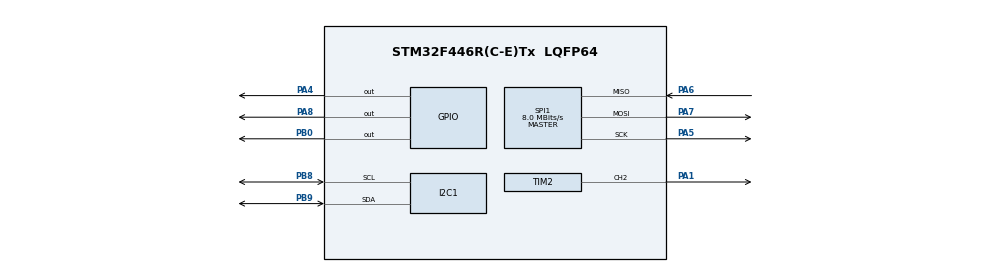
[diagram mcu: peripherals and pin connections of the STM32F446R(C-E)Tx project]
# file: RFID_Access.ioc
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Mcu.Family=STM32F4
Mcu.Name=STM32F446R(C-E)Tx
Mcu.Package=LQFP64
NVIC.PriorityGroup=NVIC_PRIORITYGROUP_4
PA1.Signal=S_TIM2_CH2
PA13.Mode=Serial_Wire
PA13.Signal=SYS_JTMS-SWDIO
PA14.Mode=Serial_Wire
PA14.Signal=SYS_JTCK-SWCLK
PA4.Signal=GPIO_Output
PA5.Mode=Full_Duplex_Master
PA5.Signal=SPI1_SCK
PA6.Mode=Full_Duplex_Master
PA6.Signal=SPI1_MISO
PA7.Mode=Full_Duplex_Master
PA7.Signal=SPI1_MOSI
PA8.GPIO_PuPd=GPIO_PULLDOWN
PA8.Signal=GPIO_Output
PB0.Signal=GPIO_Output
PB8.Mode=I2C
PB8.Signal=I2C1_SCL
PB9.Mode=I2C
PB9.Signal=I2C1_SDA
ProjectManager.HeapSize=0x200
ProjectManager.StackSize=0x400
ProjectManager.TargetToolchain=STM32CubeIDE
RCC.CortexFreq_Value=16000000
RCC.USBFreq_Value=96000000
RCC.VCOOutputFreq_Value=192000000
SH.S_TIM2_CH2.0=TIM2_CH2,PWM Generation2 CH2
SPI1.BaudRatePrescaler=SPI_BAUDRATEPRESCALER_2
SPI1.CalculateBaudRate=8.0 MBits/s
SPI1.Direction=SPI_DIRECTION_2LINES
SPI1.FirstBit=SPI_FIRSTBIT_MSB
SPI1.Mode=SPI_MODE_MASTER
SPI1.VirtualType=VM_MASTER
TIM2.Channel-PWM\ Generation2\ CH2=TIM_CHANNEL_2
TIM2.Period=999
TIM2.Prescaler=16
VP_TIM2_VS_ClockSourceINT.Mode=Internal
board=custom

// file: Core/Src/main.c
/* USER CODE BEGIN Header */
/*
 +--------+---------+   +------+---------+   +--------+------+
 | RFID   | STM     |   | LCD  | STM     |   | PIEZO  | STM  |
 +--------+---------+   +------+---------+   +--------+------+
 | VCC    | 3.3V    |   | VCC  | 5.0V    |   | SIG    | A01  |
 | RST    | PB0(A03)|   | GND  | GND     |   | GND    | GND  |
 | GND    | GND     |   | SCL  | SCL/D15 |   +--------+------+
 | IRQ    | ---     |   | SDA  | SDA/D14 |
 | MISO   | PA6(D12)|   +------+---------+
 | MOSI   | PA7(D11)|	+-------+------+
 | SCK    | PA5(D13)|	| RELAY | STM  |
 | SDA    | PA4(A02)|	+-------+------+
 +--------+---------+	| SIG   | A08  |
 	 	 	 	 	 	| GND   | GND  |
						+-------+------+
 */
/* USER CODE END Header */

#include <stdio.h>
#include <main.h>
#include <string.h>
#include <stdlib.h>
#include <poruke.h>
#define ALLOWED_UID_0 75
#define ALLOWED_UID_1 161
#define ALLOWED_UID_2 169
#define ALLOWED_UID_3 195
#define ALLOWED_UID_4 128

// Deklaracije LCD funkcija
void Delay_us(uint32_t us);	//prototip funkcije mikrosekunda
void DWT_Init(void);		//prototip funkcije inicijalizacije mikrosekundi
void I2C_LCD_Init(void); 	// Inicijalizacija LCD ekrana
void I2C_LCD_Clear(void); 	// Briše sadržaj LCD ekrana
void I2C_LCD_SetCursor(uint8_t Col, uint8_t Row); // Postavlja kursor na određenu poziciju
void I2C_LCD_WriteString(char *Str); // Ispisuje string na LCD
typedef struct {
	// I2C LCD Module Instance Index
	uint8_t I2C_LCD_Instance;

	// I2C Hardware Peripheral Handle
	I2C_HandleTypeDef *I2C_Handle;

	// I2C LCD Hardware Device Address
	uint8_t I2C_LCD_Address;

	// I2C LCD Columns Count
	uint8_t I2C_LCD_nCol;

	// I2C LCD Rows Count
	uint8_t I2C_LCD_nRow;

} I2C_LCD_CfgType;

// Maksimalna dužina buffera za prijenos podataka s RFID modula
#define MAX_LEN 16
// Definicija SPI instance koja se koristi za komunikaciju s RC522
#define HSPI_INSTANCE &hspi1
// Definicije GPIO pinova za RC522 čip selekt (CS) i reset (RST)
#define MFRC522_CS_PORT GPIOA     // Port za čip selekt
#define MFRC522_CS_PIN GPIO_PIN_4 // Pin za čip selekt (SDA)
#define MFRC522_RST_PORT GPIOB    // Port za reset
#define MFRC522_RST_PIN GPIO_PIN_0 // Pin za reset

// Funkcije za rad s RC522 RFID modulom
void MFRC522_Init(void);		//Inicijalizira RC522 RFID modul

uint8_t MFRC522_Request(uint8_t reqMode, uint8_t *TagType);

uint8_t MFRC522_Anticoll(uint8_t *serNum);

/* USER CODE END Includes */

/* USER CODE BEGIN PD */

// Definicije GPIO pinova za upravljanje relejom
#define RELAY_PIN       	GPIO_PIN_8  // Pin koji kontrolira relej (uključivanje/isključivanje)
#define RELAY_PORT      	GPIOA       // GPIO port gdje je povezan relej
/* USER CODE END PD */

I2C_HandleTypeDef hi2c1;  // Struktura za rad s I2C perifernim modulom
SPI_HandleTypeDef hspi1;  // Struktura za rad s SPI komunikacijom
TIM_HandleTypeDef htim2; // Struktura za rad s tajmerom 2 (PWM za piezo zvučnik)

/* USER CODE BEGIN PV */
uint8_t status;  // Status RFID očitanja, pokazuje prisutnost kartice
uint8_t str[MAX_LEN]; // Buffer za pohranu očitanih podataka s RFID kartice (maksimalna dužina 16 bajtova)
uint8_t sNum[5];  // Polje za spremanje UID broja RFID kartice (5 bajtova)

/* USER CODE END PV */

void SystemClock_Config(void); // Konfiguracija sistemskog takta mikrokontrolera
void MX_GPIO_Init(void);  // Inicijalizacija GPIO pinova
void MX_SPI1_Init(void); // Inicijalizacija SPI1 periferije za komunikaciju s RFID modulom
static void MX_I2C1_Init(void);  // Inicijalizacija I2C1 periferije za LCD ekran
static void MX_TIM2_Init(void); // Inicijalizacija TIM2 timera za generiranje PWM signala
void Reset_TIM2(void); // Reset timera TIM2 za potrebe ispravnog funkcioniranja PWM-a
/* USER CODE BEGIN PFP */

//prototipi funkcija
void RFID_Process(void); //Proces identifikacije
void RC522_Init(void);  // Inicijalizacija RFID modula RC522
void I2C_DENIED(void); // Prikazuje poruku 'DENIED' na LCD-u i generira zvučni signal za odbijen pristup
void I2C_GRANTED(void); // Prikazuje poruku 'GRANTED' na LCD-u, aktivira relej i generira zvučni signal
void I2C_WELCOME(void); // Prikazuje poruku dobrodošlice i upute za skeniranje kartice na LCD-u
void I2C_CARD(uint8_t *data);  // Prikazuje UID kartice na LCD ekranu u dva reda
#define TIM_CLOCK 16000000  // 16 MHz
void GenerateTone(int tone, int duration_ms); // Generira zvučni signal pomoću PWM-a na piezo zvučniku

/* USER CODE END PFP */

int main(void) {

	/* MCU Configuration--------------------------------------------------------*/

	/* Reset of all peripherals, Initializes the Flash interface and the Systick. */
	HAL_Init();  // Inicijalizacija HAL biblioteke

	/* Configure the system clock */
	SystemClock_Config();  // Konfiguracija sistemskog takta

	/* Initialize all configured peripherals */

	MX_GPIO_Init();  // Inicijalizacija GPIO pinova
	MX_SPI1_Init();  // Inicijalizacija SPI-a
	MX_I2C1_Init();  // Inicijalizacija I2C-a
	MX_TIM2_Init();  // Inicijalizacija timera 2
	/* USER CODE BEGIN 2 */
	DWT_Init();		// Inicijalizacija microSeconds funkcije (izbjegavam util.h)
	MFRC522_Init();  // Inicijalizacija RFID modula
	I2C_LCD_Init();  // Inicijalizacija LCD ekrana
	HAL_TIM_PWM_Start(&htim2, TIM_CHANNEL_2); // Pokretanje PWM-a za piezo zvučnik
	I2C_WELCOME();  // Prikaz poruke dobrodošlice

	/* USER CODE END 2 */

	/* Infinite loop */
	/* USER CODE BEGIN WHILE */
	while (1) {
		RFID_Process();
		/* USER CODE END WHILE */

	}
}

void SystemClock_Config(void) {
	RCC_OscInitTypeDef RCC_OscInitStruct = { 0 };
	RCC_ClkInitTypeDef RCC_ClkInitStruct = { 0 };

	/** Configure the main internal regulator output voltage
	 */
	__HAL_RCC_PWR_CLK_ENABLE();
	__HAL_PWR_VOLTAGESCALING_CONFIG(PWR_REGULATOR_VOLTAGE_SCALE3);

	/** Initializes the RCC Oscillators according to the specified parameters
	 * in the RCC_OscInitTypeDef structure.
	 */
	RCC_OscInitStruct.OscillatorType = RCC_OSCILLATORTYPE_HSI;
	RCC_OscInitStruct.HSIState = RCC_HSI_ON;
	RCC_OscInitStruct.HSICalibrationValue = RCC_HSICALIBRATION_DEFAULT;
	RCC_OscInitStruct.PLL.PLLState = RCC_PLL_NONE;
	if (HAL_RCC_OscConfig(&RCC_OscInitStruct) != HAL_OK) {
		Error_Handler();
	}

	/** Initializes the CPU, AHB and APB buses clocks
	 */
	RCC_ClkInitStruct.ClockType = RCC_CLOCKTYPE_HCLK | RCC_CLOCKTYPE_SYSCLK
			| RCC_CLOCKTYPE_PCLK1 | RCC_CLOCKTYPE_PCLK2;
	RCC_ClkInitStruct.SYSCLKSource = RCC_SYSCLKSOURCE_HSI;
	RCC_ClkInitStruct.AHBCLKDivider = RCC_SYSCLK_DIV1;
	RCC_ClkInitStruct.APB1CLKDivider = RCC_HCLK_DIV1;
	RCC_ClkInitStruct.APB2CLKDivider = RCC_HCLK_DIV1;

	if (HAL_RCC_ClockConfig(&RCC_ClkInitStruct, FLASH_LATENCY_0) != HAL_OK) {
		Error_Handler();
	}
}

static void MX_I2C1_Init(void) {

	hi2c1.Instance = I2C1;
	hi2c1.Init.ClockSpeed = 100000;
	hi2c1.Init.DutyCycle = I2C_DUTYCYCLE_2;
	hi2c1.Init.OwnAddress1 = 0;
	hi2c1.Init.AddressingMode = I2C_ADDRESSINGMODE_7BIT;
	hi2c1.Init.DualAddressMode = I2C_DUALADDRESS_DISABLE;
	hi2c1.Init.OwnAddress2 = 0;
	hi2c1.Init.GeneralCallMode = I2C_GENERALCALL_DISABLE;
	hi2c1.Init.NoStretchMode = I2C_NOSTRETCH_DISABLE;
	if (HAL_I2C_Init(&hi2c1) != HAL_OK) {
		Error_Handler();
	}

}

void MX_SPI1_Init(void) {

	/* SPI1 parameter configuration*/
	hspi1.Instance = SPI1;					//naziv SPI instance
	hspi1.Init.Mode = SPI_MODE_MASTER;				//STM radi kao master
	hspi1.Init.Direction = SPI_DIRECTION_2LINES;	//dvosmjerna komunikacija
	hspi1.Init.DataSize = SPI_DATASIZE_8BIT;		//veličina podatka je 8 bita
	hspi1.Init.CLKPolarity = SPI_POLARITY_LOW;		//SCK je u 0 kad miruje
	hspi1.Init.CLKPhase = SPI_PHASE_1EDGE;			//podaci se uzorkuju na prvom bridu
	hspi1.Init.NSS = SPI_NSS_SOFT;					//software kontrolira chip select
	hspi1.Init.BaudRatePrescaler = SPI_BAUDRATEPRESCALER_2; //Brzina komunikacij
	hspi1.Init.FirstBit = SPI_FIRSTBIT_MSB;			//prvi bit je MSB
	hspi1.Init.TIMode = SPI_TIMODE_DISABLE;
	hspi1.Init.CRCCalculation = SPI_CRCCALCULATION_DISABLE;
	hspi1.Init.CRCPolynomial = 10;
	if (HAL_SPI_Init(&hspi1) != HAL_OK) {
		Error_Handler();
	}

}

static void MX_TIM2_Init(void) {

	TIM_ClockConfigTypeDef sClockSourceConfig = { 0 };
	TIM_MasterConfigTypeDef sMasterConfig = { 0 };
	TIM_OC_InitTypeDef sConfigOC = { 0 };

	htim2.Instance = TIM2;
	htim2.Init.Prescaler = 1;
	htim2.Init.CounterMode = TIM_COUNTERMODE_UP;
	htim2.Init.Period = 7999;
	htim2.Init.ClockDivision = TIM_CLOCKDIVISION_DIV1;
	htim2.Init.AutoReloadPreload = TIM_AUTORELOAD_PRELOAD_DISABLE;
	if (HAL_TIM_Base_Init(&htim2) != HAL_OK) {
		Error_Handler();
	}
	sClockSourceConfig.ClockSource = TIM_CLOCKSOURCE_INTERNAL;
	if (HAL_TIM_ConfigClockSource(&htim2, &sClockSourceConfig) != HAL_OK) {
		Error_Handler();
	}
	if (HAL_TIM_PWM_Init(&htim2) != HAL_OK) {
		Error_Handler();
	}
	sMasterConfig.MasterOutputTrigger = TIM_TRGO_RESET;
	sMasterConfig.MasterSlaveMode = TIM_MASTERSLAVEMODE_DISABLE;
	if (HAL_TIMEx_MasterConfigSynchronization(&htim2, &sMasterConfig)
			!= HAL_OK) {
		Error_Handler();
	}
	sConfigOC.OCMode = TIM_OCMODE_PWM1;
	sConfigOC.Pulse = 0;
	sConfigOC.OCPolarity = TIM_OCPOLARITY_HIGH;
	sConfigOC.OCFastMode = TIM_OCFAST_DISABLE;
	if (HAL_TIM_PWM_ConfigChannel(&htim2, &sConfigOC, TIM_CHANNEL_2)
			!= HAL_OK) {
		Error_Handler();
	}
	HAL_TIM_MspPostInit(&htim2);

}

void MX_GPIO_Init(void) {
	GPIO_InitTypeDef GPIO_InitStruct = { 0 };

	/* GPIO Ports Clock Enable */
	__HAL_RCC_GPIOA_CLK_ENABLE();
	__HAL_RCC_GPIOB_CLK_ENABLE();

	/*Configure GPIO pin Output Level */
	HAL_GPIO_WritePin(GPIOA, GPIO_PIN_4 | GPIO_PIN_8, GPIO_PIN_RESET);

	/*Configure GPIO pin Output Level */
	HAL_GPIO_WritePin(GPIOB, GPIO_PIN_0, GPIO_PIN_RESET);

	/*Configure GPIO pin : PA4 */
	GPIO_InitStruct.Pin = GPIO_PIN_4;
	GPIO_InitStruct.Mode = GPIO_MODE_OUTPUT_PP;
	GPIO_InitStruct.Pull = GPIO_NOPULL;
	GPIO_InitStruct.Speed = GPIO_SPEED_FREQ_LOW;
	HAL_GPIO_Init(GPIOA, &GPIO_InitStruct);

	/*Configure GPIO pin : PB0 */
	GPIO_InitStruct.Pin = GPIO_PIN_0;
	GPIO_InitStruct.Mode = GPIO_MODE_OUTPUT_PP;
	GPIO_InitStruct.Pull = GPIO_NOPULL;
	GPIO_InitStruct.Speed = GPIO_SPEED_FREQ_LOW;
	HAL_GPIO_Init(GPIOB, &GPIO_InitStruct);

	/*Configure GPIO pin : PA8 */
	GPIO_InitStruct.Pin = GPIO_PIN_8;
	GPIO_InitStruct.Mode = GPIO_MODE_OUTPUT_PP;
	GPIO_InitStruct.Pull = GPIO_PULLDOWN;
	GPIO_InitStruct.Speed = GPIO_SPEED_FREQ_LOW;
	HAL_GPIO_Init(GPIOA, &GPIO_InitStruct);

}

/* USER CODE BEGIN 4 */
void RFID_Process(void) {
	// Attempt to detect a card
	status = MFRC522_Request(0x26, str); // Provjera prisutnosti kartice
	if (status == 0) {
		status = MFRC522_Anticoll(str);  // Antikolidacija - dobivanje UID-a
		if (status == 0) {
			memcpy(sNum, str, 5); // Kopiranje UID-a u sNum
			HAL_Delay(100);
			if ((str[0] == ALLOWED_UID_0) && (str[1] == ALLOWED_UID_1)
					&& (str[2] == ALLOWED_UID_2) && (str[3] == ALLOWED_UID_3)
					&& (str[4] == ALLOWED_UID_4)) {
				//I2C_CARD((uint8_t*) str);  // Prikaz broja kartice na LCD-u
				I2C_GRANTED();  // Dozvoljen pristup
				I2C_WELCOME();
			} else {
				//I2C_CARD((uint8_t*) str);  // Prikaz broja kartice na LCD-u
				I2C_DENIED();  // Odbijen pristup
				I2C_WELCOME();
			}
		}
	}
};
void I2C_DENIED(void) {
	// Generate a random index
	int random_index = rand() % denied_messages_count;
	// Display the message
	I2C_LCD_Clear();
	I2C_LCD_SetCursor(0, 0);
	I2C_LCD_WriteString((char*) denied_messages[random_index][0]); // First line
	I2C_LCD_SetCursor(0, 1);
	I2C_LCD_WriteString((char*) denied_messages[random_index][1]); // Second line
	// Generiranje zvučnog signala
	GenerateTone(800, 300);

	// Mala pauza da korisnik vidi poruku
	HAL_Delay(2500);

}

void I2C_GRANTED(void) {
	// Generate a random index
	int random_index = rand() % granted_messages_count;
	// Display the message
	I2C_LCD_Clear();
	I2C_LCD_SetCursor(0, 0);
	I2C_LCD_WriteString((char*) granted_messages[random_index][0]); // First line
	I2C_LCD_SetCursor(0, 1);
	I2C_LCD_WriteString((char*) granted_messages[random_index][1]); // Second line
	// Aktivacija releja
	HAL_GPIO_WritePin(RELAY_PORT, RELAY_PIN, GPIO_PIN_SET);

	// Zvuk odobrenja
	GenerateTone(2000, 100);

	// Drži relej uključen 5 sekundi
	HAL_Delay(2500);

	// Isključivanje releja
	HAL_GPIO_WritePin(RELAY_PORT, RELAY_PIN, GPIO_PIN_RESET);
}

void I2C_WELCOME(void) {
	// Lista šaljivih poruka za skeniranje kartice (prvi red | drugi red)
	// Generate a random index
	int random_index = rand() % welcome_messages_count;
	// Display the message
	I2C_LCD_Clear();
	I2C_LCD_SetCursor(0, 0);
	I2C_LCD_WriteString((char*) welcome_messages[random_index][0]); // First line
	I2C_LCD_SetCursor(0, 1);
	I2C_LCD_WriteString((char*) welcome_messages[random_index][1]); // Second line
};

void I2C_CARD(uint8_t *data) {
	char buffer[64] = { 0 }; // Glavni buffer za pohranu ASCII vrijednosti UID brojeva
	char temp[6];  // Privremeni buffer za pojedinačne brojeve

	I2C_LCD_Clear();  // Brisanje ekrana LCD-a prije prikaza podataka

	// Postavljanje kursora na prvi red LCD-a
	I2C_LCD_SetCursor(0, 0);
	for (int i = 0; i < 3; i++) {  // Petlja za ispis prva tri bajta UID-a
		snprintf(temp, sizeof(temp), "%d ", data[i]); // Pretvaranje broja u string
		strcat(buffer, temp);  // Dodavanje konvertiranog broja u buffer
	}
	I2C_LCD_WriteString(buffer); // Prikaz prvog dijela UID-a na LCD-u

	// Resetiranje buffera za prikaz drugog reda
	memset(buffer, 0, sizeof(buffer));

	// Postavljanje kursora na drugi red LCD-a
	I2C_LCD_SetCursor(0, 1);
	for (int i = 3; i < 5; i++) {  // Petlja za ispis preostala dva bajta UID-a
		snprintf(temp, sizeof(temp), "%d ", data[i]); // Pretvaranje broja u string
		strcat(buffer, temp);  // Dodavanje u buffer
	}
	I2C_LCD_WriteString(buffer); // Prikaz drugog dijela UID-a na LCD-u
	HAL_Delay(3000);  // Zadržavanje prikaza na ekranu 3 sekunde
}

void GenerateTone(int tone, int duration_ms) {
	Reset_TIM2();
    uint32_t arr = (TIM_CLOCK / tone) - 1; // Izračun ARR za željenu frekvenciju

    __HAL_TIM_SET_AUTORELOAD(&htim2, arr); // Postavljanje perioda PWM-a
    __HAL_TIM_SET_COMPARE(&htim2, TIM_CHANNEL_2, arr / 2); // 50% duty cycle

    HAL_TIM_PWM_Start(&htim2, TIM_CHANNEL_2); // Pokretanje PWM-a
    HAL_Delay(duration_ms); // Trajanje tona
    HAL_TIM_PWM_Stop(&htim2, TIM_CHANNEL_2); // Isključivanje PWM-a
}

void Reset_TIM2(void) {
	// Zaustavi PWM na kanalu 2 kako bi se osiguralo da se timer može sigurno resetirati
	HAL_TIM_PWM_Stop(&htim2, TIM_CHANNEL_2);
	// Deinicijaliziraj osnovni timer kako bi se oslobodili resursi i omogućila nova inicijalizacija
	HAL_TIM_Base_DeInit(&htim2);
	// Ponovno inicijaliziraj timer TIM2 s prethodno definiranim postavkama
	MX_TIM2_Init();
}

/* RC522 functions BEGIN------------------------------------------------------------------*/
uint8_t RC522_SPI_Transfer(uint8_t data) {
	uint8_t rx_data;
	HAL_SPI_TransmitReceive(HSPI_INSTANCE, &data, &rx_data, 1, 100);
	//HSPI_instance je gdje štalje, &data - što šalje, &rx_data - gdje prima, 1-bajt, 100ms timeout
	return rx_data;
}

void Write_MFRC522(uint8_t addr, uint8_t val) {
	HAL_GPIO_WritePin(MFRC522_CS_PORT, MFRC522_CS_PIN, GPIO_PIN_RESET); //aktivira RC522
	RC522_SPI_Transfer((addr << 1) & 0x7E); //adresa je ovisna o registru,   prvi bajt
	//Adresu shiftamo u lijevo za jedan bit, a operator & dodaje bajt 01111110
	//da osigura da su svi bitovi ispravno postavljeni
	//kod pisanja moramo osigurati da je najviši bit 0
	RC522_SPI_Transfer(val);	//drugi bajt je vrijednost za slanje
	HAL_GPIO_WritePin(MFRC522_CS_PORT, MFRC522_CS_PIN, GPIO_PIN_SET);  //deaktivira RC522
}

uint8_t Read_MFRC522(uint8_t addr) {
	//generička funkcija za čitanje vrijednosti registara
	//Za pisanje u registar: najniži bit adrese je 0.
	//Za čitanje iz registra: najniži bit adrese mora biti 1.
	uint8_t val; //definiramo varijablu za return vrijednost
	//select modula
	HAL_GPIO_WritePin(MFRC522_CS_PORT, MFRC522_CS_PIN, GPIO_PIN_RESET);
	//shiftamo adresu u lijevo za jedan bit, osiguravamo 6 srednjih bitova
	//operatorom OR stavljamo bit 1 na najviše mjesto jer označava čitanje
	RC522_SPI_Transfer(((addr << 1) & 0x7E) | 0x80);
	//šaljemo dummy byte da bi RC522 mogao vratitit vrijednost iz registra
	val = RC522_SPI_Transfer(0x00);
	//unselect modula
	HAL_GPIO_WritePin(MFRC522_CS_PORT, MFRC522_CS_PIN, GPIO_PIN_SET);
	return val;
}

void SetBitMask(uint8_t reg, uint8_t mask) {
	uint8_t tmp = Read_MFRC522(reg);
	Write_MFRC522(reg, tmp | mask);
}

void ClearBitMask(uint8_t reg, uint8_t mask) {
	uint8_t tmp = Read_MFRC522(reg);
	Write_MFRC522(reg, tmp & (~mask));
}

void AntennaOn(void) {
	Read_MFRC522(0x14);
	SetBitMask(0x14, 0x03);
}

void MFRC522_Reset(void) {
	Write_MFRC522(0x01, 0x0F);
}

void MFRC522_Init(void) {
	HAL_GPIO_WritePin(MFRC522_CS_PORT, MFRC522_CS_PIN, GPIO_PIN_SET);
	HAL_GPIO_WritePin(MFRC522_RST_PORT, MFRC522_RST_PIN, GPIO_PIN_SET);
	MFRC522_Reset();
	Write_MFRC522(0x2A, 0x8D);
	Write_MFRC522(0x2B, 0x3E);
	Write_MFRC522(0x2D, 30);
	Write_MFRC522(0x2C, 0);
	Write_MFRC522(0x15, 0x40);
	Write_MFRC522(0x11, 0x3D);
	AntennaOn();
}

uint8_t MFRC522_ToCard(uint8_t command, uint8_t *sendData, uint8_t sendLen,
		uint8_t *backData, uint16_t *backLen) {
	uint8_t status = 2;
	uint8_t irqEn, waitIRq, n;
	int i;
	if (command == 0x0E) {
		irqEn = 0x12;
		waitIRq = 0x10;
	} else {
		irqEn = 0x77;
		waitIRq = 0x30;
	}
	Write_MFRC522(0x02, irqEn | 0x80);
	ClearBitMask(0x04, 0x80);
	SetBitMask(0x0A, 0x80);
	Write_MFRC522(0x01, 0x00);
	for (i = 0; i < sendLen; i++)
		Write_MFRC522(0x09, sendData[i]);
	Write_MFRC522(0x01, command);
	if (command == 0x0C)
		SetBitMask(0x0D, 0x80);
	i = 2000;
	do {
		n = Read_MFRC522(0x04);
		i--;
	} while ((i != 0) && !(n & 0x01) && !(n & waitIRq));
	ClearBitMask(0x0D, 0x80);
	if (i != 0) {
		if (!(Read_MFRC522(0x06) & 0x1B)) {
			status = 0;
			if (n & irqEn & 0x01)
				status = 1;
			if (command == 0x0C) {
				n = Read_MFRC522(0x0A);
				*backLen = n * 8;
				for (i = 0; i < n; i++)
					backData[i] = Read_MFRC522(0x09);
			}
		}
	}
	return status;
}

uint8_t MFRC522_Request(uint8_t reqMode, uint8_t *TagType) {
	uint8_t status;
	uint16_t backBits;  // Promijenjeno sa int na uint16_t

	Write_MFRC522(0x0D, 0x07);
	TagType[0] = reqMode;

	status = MFRC522_ToCard(0x0C, TagType, 1, TagType, &backBits);
	// if true, else
	return (status == 0 && backBits == 0x10) ? 0 : 2;
}

uint8_t MFRC522_Anticoll(uint8_t *serNum) {
	uint8_t status, i, serNumCheck = 0;
	uint16_t unLen;
	Write_MFRC522(0x0D, 0x00);
	serNum[0] = 0x93;
	serNum[1] = 0x20;
	status = MFRC522_ToCard(0x0C, serNum, 2, serNum, &unLen);
	if (status == 0) {
		for (i = 0; i < 4; i++)
			serNumCheck ^= serNum[i];
		if (serNumCheck != serNum[i])
			status = 2;
	}
	return status;
}
/* RC522 functions END------------------------------------------------------------------*/

/* LCD functions BEGIN------------------------------------------------------------------*/

//extern I2C_HandleTypeDef hi2c1;

/*-----------------------[INTERNAL DEFINITIONS]-----------------------*/
// CMD

/*-----------------------[INTERNAL VARIABLES]-----------------------*/

typedef struct I2C_LCD_InfoParam_s {}
I2C_LCD_InfoParam_t;

/*---------------------[STATIC INTERNAL FUNCTIONS]-----------------------*/
//ZAPISIVANJE PODATKA U I2C EKSPANDERSKI MODUL
static void I2C_LCD_ExpanderWrite(uint8_t DATA) {
	uint8_t TxData = DATA | 0x08;
	HAL_I2C_Master_Transmit(&hi2c1,(0x27 << 1),
			&TxData, sizeof(TxData), 100);
}

//PULSIRANJE LCD EKRANA
static void I2C_LCD_EnPulse(uint8_t DATA) {
	//
	I2C_LCD_ExpanderWrite(DATA | 0b00000100); // EnABLE high
	Delay_us(2);

	I2C_LCD_ExpanderWrite(DATA & ~0b00000100); // ENable low
	Delay_us(50);
}

//funkcija za slanje putem I2C
static void I2C_LCD_Send(uint8_t Val, uint8_t Mode) {
	//vrijednost koju je primio putem val varijable šalje putem 4 bita koje dijelimo
	//maskiramo 4 MSB bita i spremamo u varijablu HighNib
	uint8_t HighNib = Val & 0xF0;
	//shiftamo vrijednost 4 LSB bita u gornje bitove 4567
	uint8_t LowNib = (Val << 4) & 0xF0;
	// mode može biti 0x00 ili 0x01 ovisno šaljemo li komandu ili podatak
	// Mode 0x00 je komanda, mode 0x01 je podatak
	I2C_LCD_ExpanderWrite(HighNib | Mode);
	I2C_LCD_EnPulse(HighNib | Mode);
	I2C_LCD_ExpanderWrite(LowNib | Mode);
	I2C_LCD_EnPulse(LowNib | Mode);
}

static void I2C_LCD_Cmd(uint8_t CMD) {
	I2C_LCD_Send(CMD, 0);
}

/*-----------------------[USER EXTERNAL FUNCTIONS]-----------------------*/

void I2C_LCD_Init() {
	HAL_Delay(50);
	I2C_LCD_Cmd(0x30); //probudi LCD, ali on možda još nije stabilan
	HAL_Delay(5);
	I2C_LCD_Cmd(0x30);//osigurava da LCD shvati da radimo u 8-bitnom modu
	HAL_Delay(5);
	I2C_LCD_Cmd(0x30);//potvrđuje i zaključava 8-bitni način rada
	Delay_us(150);
	I2C_LCD_Cmd(0x02);//postavlja 4-bitni način rada

	//(LCD_FUNCTIONSET | LCD_4BITMODE | LCD_2LINE | LCD_5x8DOTS);
	I2C_LCD_Cmd(0x28);
	//I2C_LCD_Cmd(LCD_DISPLAYCONTROL | LCD_DISPLAYON | LCD_CURSOROFF | LCD_BLINKOFF);
	I2C_LCD_Cmd(0x0C);

	//I2C_LCD_Cmd(LCD_ENTRYMODESET | LCD_ENTRYLEFT | LCD_ENTRYSHIFTDECREMENT);
	I2C_LCD_Cmd(0x06);
	I2C_LCD_Clear();
}

void I2C_LCD_Clear() {

	I2C_LCD_Send(0x01, 0);
	HAL_Delay(2);
}

void I2C_LCD_SetCursor(uint8_t Col, uint8_t Row) {
	int Row_Offsets[] = { 0x00, 0x40, 0x14, 0x54 };
		if (Row > 2) {
			Row = 1;
		}
		I2C_LCD_Send(0x80 | (Col + Row_Offsets[Row]), 0);
}

void I2C_LCD_WriteString(char *Str) {
	//petlja se izvršava dok ne dođe do terminatora
	while (*Str) {
		//šaljem znak po znak LCDU i pomijeram pointer na novi znak
		I2C_LCD_Send(*Str++,1);
	}
}

/* LCD functions END-------------------------------------------------------*/

/* MicroSeconds functions END--------------------------------------------------*/
void Delay_us(uint32_t us) {
	uint32_t start = DWT->CYCCNT;
	uint32_t ticks = (SystemCoreClock / 1000000) * us; // Pretvara µs u CPU cikluse
	while ((DWT->CYCCNT - start) < ticks)
		;
}

void DWT_Init(void) {
	CoreDebug->DEMCR |= CoreDebug_DEMCR_TRCENA_Msk;  // Omogući DWT
	DWT->CYCCNT = 0;  // Reset counter
	DWT->CTRL |= DWT_CTRL_CYCCNTENA_Msk;  // Omogući counter
}

/* MicroSeconds functions END--------------------------------------------------*/

/* USER CODE END 4 */

void Error_Handler(void) {
	__disable_irq();
	while (1) {
	}
}
